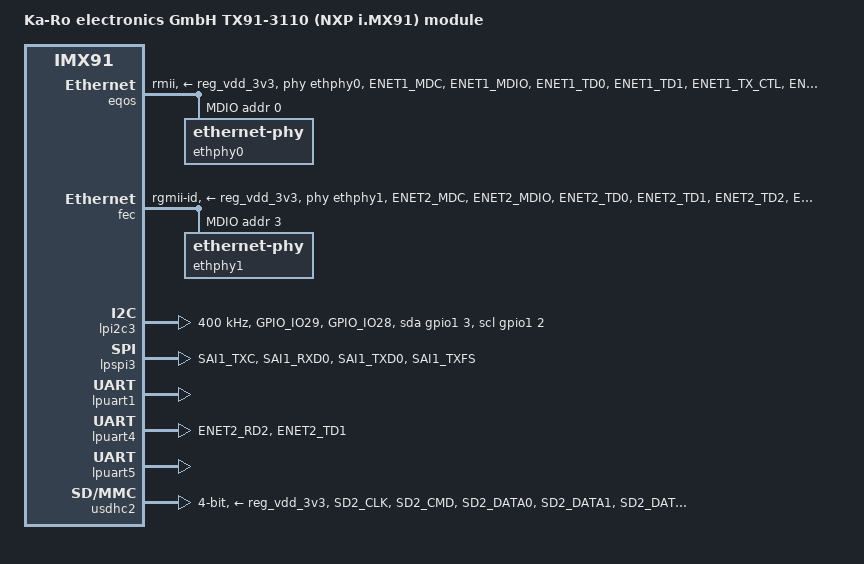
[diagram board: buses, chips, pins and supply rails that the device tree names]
// SPDX-License-Identifier: (GPL-2.0+ OR MIT)
/*
 * Copyright 2023 Lothar Waßmann <LW@KARO-electronics.de>
 */

/dts-v1/;

#include "imx91-karo.dtsi"

/ {
	model = "Ka-Ro electronics GmbH TX91-3110 (NXP i.MX91) module";
	compatible = "karo,tx91-3110", "fsl,imx91";

	aliases {
		mmc1 = &usdhc2;
		i2c0 = &lpi2c1; /* PMIC */
		i2c1 = &lpi2c3;
		i2c2 = &lpi2c6;
		i2c3 = &lpi2c7;
		i2c4 = &lpi2c8;
		i2c5 = &lpi2c5;
		i2c6 = &lpi2c4;
		i2c7 = &lpi2c2;
		serial0 = &lpuart1;
		serial1 = &lpuart4;
		serial2 = &lpuart5;
		serial3 = &lpuart2;
		serial4 = &lpuart6;
		serial5 = &lpuart7;
		serial6 = &lpuart8;
		serial7 = &lpuart3;
	};
};

&eqos {
	pinctrl-names = "default";
	pinctrl-0 = <&pinctrl_eqos_rmii &pinctrl_ethphy0_rst>;
	assigned-clock-rates = <0 50000000>;
	phy-mode = "rmii";
	phy-handle = <&ethphy0>;
	phy-supply = <&reg_vdd_3v3>;
	phy-reset-gpios = <&gpio4 13 GPIO_ACTIVE_LOW>;
	phy-reset-duration = <25000>; /* µs */
	phy-reset-post-delay = <10>; /* µs */
	status = "okay";

	mdio {
		compatible = "snps,dwmac-mdio";
		#address-cells = <1>;
		#size-cells = <0>;
		clock-frequency = <2500000>;

		ethphy0: ethernet-phy@0 {
			reg = <0>;
			smsc,disable-energy-detect;
		};
	};
};

&fec {
	pinctrl-names = "default";
	pinctrl-0 = <&pinctrl_fec_rgmii>;
	phy-mode = "rgmii-id";
	phy-handle = <&ethphy1>;
	phy-supply = <&reg_vdd_3v3>;
	phy-reset-gpios = <&gpio4 13 GPIO_ACTIVE_LOW>;
	phy-reset-duration = <10>; /* ms */
	phy-reset-post-delay = <1>; /* ms */

	mdio {
		ethphy1: ethernet-phy@3 {
			reg = <3>;
		};
	};
};

&lpi2c3 {
	clock-frequency = <400000>;
	pinctrl-names = "default", "gpio";
	pinctrl-0 = <&pinctrl_lpi2c3>;
	pinctrl-1 = <&pinctrl_lpi2c3_gpio>;
	scl-gpios = <&gpio1 2 (GPIO_ACTIVE_HIGH | GPIO_OPEN_DRAIN)>;
	sda-gpios = <&gpio1 3 (GPIO_ACTIVE_HIGH | GPIO_OPEN_DRAIN)>;
	status = "okay";
};

&lpspi3 {
	pinctrl-names = "default";
	pinctrl-0 = <&pinctrl_lpspi3 &pinctrl_lpspi3_cs>;
	spi-max-frequency = <25000000>;
};

&lpuart1 { /* console */
	pinctrl-names = "default";
	pinctrl-0 = <&pinctrl_lpuart1 &pinctrl_lpuart1_rtscts>;
	uart-has-rtscts;
	status = "okay";
};

&lpuart2 {
	pinctrl-names = "default";
	pinctrl-0 = <&pinctrl_lpuart2>;
};

&lpuart3 {
	pinctrl-names = "default";
	pinctrl-0 = <&pinctrl_lpuart3 &pinctrl_lpuart3_rtscts>;
	uart-has-rtscts;
};

&lpuart4 {
	pinctrl-names = "default";
	pinctrl-0 = <&pinctrl_lpuart4 &pinctrl_lpuart4_rtscts>;
	uart-has-rtscts;
	status = "okay";
};

&lpuart5 {
	pinctrl-names = "default";
	pinctrl-0 = <&pinctrl_lpuart5 &pinctrl_lpuart5_rtscts>;
	uart-has-rtscts;
	status = "okay";
};

&usdhc2 {
	pinctrl-names = "default";
	pinctrl-0 = <&pinctrl_usdhc2>;
	vmmc-supply = <&reg_vdd_3v3>;
	vqmmc-supply = <&reg_vdd_3v3>;
	bus-width = <4>;
	no-1-8-v;
	no-sdio;
	no-mmc;
	status = "okay";
};

&iomuxc {
	pinctrl-names = "default";
	status = "okay";

	pinctrl_eqos_rmii: eqos-rmiigrp {
		fsl,pins = <
			MX91_PAD_ENET1_MDC__ENET_QOS_MDC		0x57e
			MX91_PAD_ENET1_MDIO__ENET_QOS_MDIO		0x17e
			MX91_PAD_ENET1_TD0__ENET_QOS_RGMII_TD0		0x57e
			MX91_PAD_ENET1_TD1__ENET_QOS_RGMII_TD1		0x57e
			MX91_PAD_ENET1_TX_CTL__ENET_QOS_RGMII_TX_CTL	0x57e
			MX91_PAD_ENET1_TD2__ENET_QOS_CLOCK_GENERATE_CLK	0x4000017e
			/* SMSC LAN8710 Strap pins */
			MX91_PAD_ENET1_RD0__ENET_QOS_RGMII_RD0		0x37e /* MODE0 */
			MX91_PAD_ENET1_RD1__ENET_QOS_RGMII_RD1		0x37e /* MODE1 */
			MX91_PAD_ENET1_RX_CTL__ENET_QOS_RGMII_RX_CTL	0x37e /* MODE2 (ext. Pullup) */
			MX91_PAD_ENET1_RXC__ENET_QOS_RX_ER		0x57e /* PHYAD0 */
		>;
	};

	pinctrl_ethphy0_rst: ethphy0-rstgrp {
		fsl,pins = <
			MX91_PAD_ENET1_RD3__GPIO4_IO13			0x17e
		>;
	};

	pinctrl_fec_rgmii: fec-rgmiigrp {
		fsl,pins = <
			MX91_PAD_ENET2_MDC__ENET2_MDC			0x57e
			MX91_PAD_ENET2_MDIO__ENET2_MDIO			0x17e
			MX91_PAD_ENET2_TD0__ENET2_RGMII_TD0		0x57e
			MX91_PAD_ENET2_TD1__ENET2_RGMII_TD1		0x57e
			MX91_PAD_ENET2_TD2__ENET2_RGMII_TD2		0x57e
			MX91_PAD_ENET2_TD3__ENET2_RGMII_TD3		0x57e
			MX91_PAD_ENET2_TXC__ENET2_RGMII_TXC		0x5fe
			MX91_PAD_ENET2_RD0__ENET2_RGMII_RD0		0x37e
			MX91_PAD_ENET2_RD2__ENET2_RGMII_RD2		0x37e
			MX91_PAD_ENET2_RD3__ENET2_RGMII_RD3		0x37e
			/* KSZ9031 Strap pins 0x5..: HIGH 0x3..: LOW */
			MX91_PAD_ENET2_RXC__ENET2_RGMII_RXC		0x3fe /* PHYAD2 */
			MX91_PAD_ENET2_TX_CTL__ENET2_RGMII_TX_CTL	0x37e /* MODE0 */
			MX91_PAD_ENET2_RD1__ENET2_RGMII_RD1		0x37e /* MODE1 */
			MX91_PAD_ENET2_TD3__ENET2_RGMII_TD3		0x37e /* MODE2 */
			MX91_PAD_ENET2_TD2__ENET2_RGMII_TD2		0x37e /* MODE3 */
			MX91_PAD_ENET2_RX_CTL__ENET2_RGMII_RX_CTL	0x57e /* CLK125_EN */
		>;
	};

	pinctrl_lcdif: lcdifgrp {
		fsl,pins = <
			MX91_PAD_GPIO_IO00__MEDIAMIX_DISP_CLK		0x31e
			MX91_PAD_GPIO_IO01__MEDIAMIX_DISP_DE		0x31e
			MX91_PAD_GPIO_IO02__MEDIAMIX_DISP_VSYNC		0x31e
			MX91_PAD_GPIO_IO03__MEDIAMIX_DISP_HSYNC		0x31e
			MX91_PAD_GPIO_IO04__MEDIAMIX_DISP_DATA0		0x31e
			MX91_PAD_GPIO_IO05__MEDIAMIX_DISP_DATA1		0x31e
			MX91_PAD_GPIO_IO06__MEDIAMIX_DISP_DATA2		0x31e
			MX91_PAD_GPIO_IO07__MEDIAMIX_DISP_DATA3		0x31e
			MX91_PAD_GPIO_IO08__MEDIAMIX_DISP_DATA4		0x31e
			MX91_PAD_GPIO_IO09__MEDIAMIX_DISP_DATA5		0x31e
			MX91_PAD_GPIO_IO10__MEDIAMIX_DISP_DATA6		0x31e
			MX91_PAD_GPIO_IO11__MEDIAMIX_DISP_DATA7		0x31e
			MX91_PAD_GPIO_IO12__MEDIAMIX_DISP_DATA8		0x31e
			MX91_PAD_GPIO_IO13__MEDIAMIX_DISP_DATA9		0x31e
			MX91_PAD_GPIO_IO14__MEDIAMIX_DISP_DATA10	0x31e
			MX91_PAD_GPIO_IO15__MEDIAMIX_DISP_DATA11	0x31e
			MX91_PAD_GPIO_IO16__MEDIAMIX_DISP_DATA12	0x31e
			MX91_PAD_GPIO_IO17__MEDIAMIX_DISP_DATA13	0x31e
			MX91_PAD_GPIO_IO18__MEDIAMIX_DISP_DATA14	0x31e
			MX91_PAD_GPIO_IO19__MEDIAMIX_DISP_DATA15	0x31e
			MX91_PAD_GPIO_IO20__MEDIAMIX_DISP_DATA16	0x31e
			MX91_PAD_GPIO_IO21__MEDIAMIX_DISP_DATA17	0x31e
			MX91_PAD_GPIO_IO22__MEDIAMIX_DISP_DATA18	0x31e
			MX91_PAD_GPIO_IO23__MEDIAMIX_DISP_DATA19	0x31e
			MX91_PAD_GPIO_IO24__MEDIAMIX_DISP_DATA20	0x31e
			MX91_PAD_GPIO_IO25__MEDIAMIX_DISP_DATA21	0x31e
			MX91_PAD_GPIO_IO26__MEDIAMIX_DISP_DATA22	0x31e
			MX91_PAD_GPIO_IO27__MEDIAMIX_DISP_DATA23	0x31e
		>;
	};

	pinctrl_flexcan2: flexcan2grp {
		fsl,pins = <
			MX91_PAD_GPIO_IO25__CAN2_TX			0x39e
			MX91_PAD_GPIO_IO27__CAN2_RX			0x39e
		>;
	};

	pinctrl_lpi2c3: lpi2c3grp {
		fsl,pins = <
			MX91_PAD_GPIO_IO29__LPI2C3_SCL			0x40001b1e
			MX91_PAD_GPIO_IO28__LPI2C3_SDA			0x40001b1e
		>;
	};

	pinctrl_lpi2c3_gpio: lpi2c3-gpiogrp {
		fsl,pins = <
			MX91_PAD_GPIO_IO29__GPIO2_IO29			0x40001b1e
			MX91_PAD_GPIO_IO28__GPIO2_IO28			0x40001b1e
		>;
	};

	pinctrl_lpspi3: lpspi3-grp {
		fsl,pins = <
			MX91_PAD_SAI1_TXC__LPSPI1_SIN			0x31e
			MX91_PAD_SAI1_RXD0__LPSPI1_SOUT			0x11e
			MX91_PAD_SAI1_TXD0__LPSPI1_SCK			0x11e
		>;
	};

	pinctrl_lpspi3_cs: lpspi3-csgrp {
		fsl,pins = <
			MX91_PAD_SAI1_TXFS__GPIO1_IO11			0x31e
		>;
	};

	pinctrl_pmic: pmicgrp {
		fsl,pins = <
			MX91_PAD_WDOG_ANY__GPIO1_IO15			0x31e
		>;
	};

	pinctrl_lpuart4_rtscts: uart4-rtsctsgrp {
		fsl,pins = <
			MX91_PAD_ENET2_RD2__LPUART4_CTS_B		0x31e
			MX91_PAD_ENET2_TD1__LPUART4_RTS_B		0x31e
		>;
	};

	pinctrl_usdhc2: usdhc2grp {
		fsl,pins = <
			MX91_PAD_SD2_CLK__USDHC2_CLK			0x7fe
			MX91_PAD_SD2_CMD__USDHC2_CMD			0x3fe
			MX91_PAD_SD2_DATA0__USDHC2_DATA0		0x3fe
			MX91_PAD_SD2_DATA1__USDHC2_DATA1		0x3fe
			MX91_PAD_SD2_DATA2__USDHC2_DATA2		0x3fe
			MX91_PAD_SD2_DATA3__USDHC2_DATA3		0x3fe
		>;
	};

	pinctrl_usdhc2_cd: usdhc2-cdgrp {
		fsl,pins = <
			MX91_PAD_SD2_CD_B__GPIO3_IO0			0x31e
		>;
	};
};
